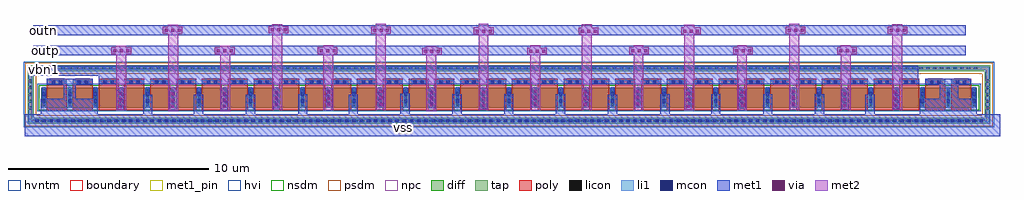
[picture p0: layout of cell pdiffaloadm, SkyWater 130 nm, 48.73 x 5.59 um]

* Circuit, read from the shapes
.subckt pdiffaloadm outn outp vbn1 vss
XM1 vss vss vss vss sky130_fd_pr__nfet_g5v0d10v5 w=1 l=1 m=4
XM2 outp vbn1 vss vss sky130_fd_pr__nfet_g5v0d10v5 w=1 l=1 m=16
XM3 outn vbn1 vss vss sky130_fd_pr__nfet_g5v0d10v5 w=1 l=1 m=16
.ends

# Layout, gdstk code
from math import pi, radians
import gdstk
lib = gdstk.Library(unit=1e-6, precision=1e-09)
def R(c, l, rs):  # rectangles x0, y0, x1, y1
    for r in rs: c.add(gdstk.rectangle(r[:2], r[2:], *l))
def A(c, l, x, y, w, h, nx, ny, dx, dy):  # array of equal rectangles
    R(c, l, [(x+i*dx, y+j*dy, x+i*dx+w, y+j*dy+h) for i in range(nx) for j in range(ny)])
diff = (65, 20)
tap = (65, 44)
poly = (66, 20)
licon = (66, 44)
li1 = (67, 20)
mcon = (67, 44)
met1_pin = (68, 16)
met1 = (68, 20)
via = (68, 44)
met2 = (69, 20)
hvi = (75, 20)
nsdm = (93, 44)
psdm = (94, 20)
npc = (95, 20)
hvntm = (125, 20)
boundary = (235, 4)

viam1m2_1u = lib.new_cell('viam1m2_1u')
R(viam1m2_1u, met1, [(-0.02,-0.04,0.33,0.94)])
A(viam1m2_1u, via, 0.075, 0.06, 0.15, 0.15, 1, 3, 0, 0.32)
R(viam1m2_1u, met2, [(-0.02,-0.04,0.33,0.94)])

sky130_fd_pr__nfet_g5v0d = lib.new_cell('sky130_fd_pr__nfet_g5v0d10v5_XZGV2A')
R(sky130_fd_pr__nfet_g5v0d, diff, [(-23.365,-0.655,23.365,0.345)])
R(sky130_fd_pr__nfet_g5v0d, tap, [(-24.035,-1.455,24.035,-1.165), (-24.035,-1.165,-23.745,1.165), (23.745,-1.165,24.035,1.165), (-24.035,1.165,24.035,1.455)])
A(sky130_fd_pr__nfet_g5v0d, poly, -23.075, -0.785, 1, 1.57, 36, 1, 1.29, 0)
A(sky130_fd_pr__nfet_g5v0d, licon, -23.375, -1.395, 0.17, 0.17, 138, 2, 0.34, 2.62)
A(sky130_fd_pr__nfet_g5v0d, licon, -23.975, -0.765, 0.17, 0.17, 1, 5, 0, 0.34)
A(sky130_fd_pr__nfet_g5v0d, licon, 23.805, -0.765, 0.17, 0.17, 1, 5, 0, 0.34)
A(sky130_fd_pr__nfet_g5v0d, licon, -23.305, -0.58, 0.17, 0.17, 37, 3, 1.29, 0.34)
R(sky130_fd_pr__nfet_g5v0d, licon, [(-22.83,0.535,-22.66,0.705), (-22.49,0.535,-22.32,0.705), (-21.54,0.535,-21.37,0.705), (-21.2,0.535,-21.03,0.705), (-20.25,0.535,-20.08,0.705), (-19.91,0.535,-19.74,0.705), (-18.96,0.535,-18.79,0.705), (-18.62,0.535,-18.45,0.705), (-17.67,0.535,-17.5,0.705), (-17.33,0.535,-17.16,0.705), (-16.38,0.535,-16.21,0.705), (-16.04,0.535,-15.87,0.705), (-15.09,0.535,-14.92,0.705), (-14.75,0.535,-14.58,0.705), (-13.8,0.535,-13.63,0.705), (-13.46,0.535,-13.29,0.705), (-12.51,0.535,-12.34,0.705), (-12.17,0.535,-12,0.705), (-11.22,0.535,-11.05,0.705), (-10.88,0.535,-10.71,0.705), (-9.93,0.535,-9.76,0.705), (-9.59,0.535,-9.42,0.705), (-8.64,0.535,-8.47,0.705), (-8.3,0.535,-8.13,0.705), (-7.35,0.535,-7.18,0.705), (-7.01,0.535,-6.84,0.705), (-6.06,0.535,-5.89,0.705), (-5.72,0.535,-5.55,0.705), (-4.77,0.535,-4.6,0.705), (-4.43,0.535,-4.26,0.705), (-3.48,0.535,-3.31,0.705), (-3.14,0.535,-2.97,0.705), (-2.19,0.535,-2.02,0.705), (-1.85,0.535,-1.68,0.705), (-0.9,0.535,-0.73,0.705), (-0.56,0.535,-0.39,0.705), (0.39,0.535,0.56,0.705), (0.73,0.535,0.9,0.705), (1.68,0.535,1.85,0.705), (2.02,0.535,2.19,0.705), (2.97,0.535,3.14,0.705), (3.31,0.535,3.48,0.705), (4.26,0.535,4.43,0.705), (4.6,0.535,4.77,0.705), (5.55,0.535,5.72,0.705), (5.89,0.535,6.06,0.705), (6.84,0.535,7.01,0.705), (7.18,0.535,7.35,0.705), (8.13,0.535,8.3,0.705), (8.47,0.535,8.64,0.705), (9.42,0.535,9.59,0.705), (9.76,0.535,9.93,0.705), (10.71,0.535,10.88,0.705), (11.05,0.535,11.22,0.705), (12,0.535,12.17,0.705), (12.34,0.535,12.51,0.705), (13.29,0.535,13.46,0.705), (13.63,0.535,13.8,0.705), (14.58,0.535,14.75,0.705), (14.92,0.535,15.09,0.705), (15.87,0.535,16.04,0.705), (16.21,0.535,16.38,0.705), (17.16,0.535,17.33,0.705), (17.5,0.535,17.67,0.705), (18.45,0.535,18.62,0.705), (18.79,0.535,18.96,0.705), (19.74,0.535,19.91,0.705), (20.08,0.535,20.25,0.705), (21.03,0.535,21.2,0.705), (21.37,0.535,21.54,0.705), (22.32,0.535,22.49,0.705), (22.66,0.535,22.83,0.705)])
A(sky130_fd_pr__nfet_g5v0d, li1, -23.305, -0.675, 0.17, 1.04, 37, 1, 1.29, 0)
A(sky130_fd_pr__nfet_g5v0d, li1, -23.075, 0.535, 1, 0.17, 36, 1, 1.29, 0)
R(sky130_fd_pr__nfet_g5v0d, li1, [(-23.975,-1.395,23.975,-1.225), (-23.975,-1.225,-23.805,1.225), (23.805,-1.225,23.975,1.225), (-23.975,1.225,23.975,1.395)])
A(sky130_fd_pr__nfet_g5v0d, mcon, -23.665, -1.395, 0.17, 0.17, 132, 1, 0.36, 0)
A(sky130_fd_pr__nfet_g5v0d, mcon, -23.305, -0.42, 0.17, 0.17, 37, 2, 1.29, 0.36)
R(sky130_fd_pr__nfet_g5v0d, mcon, [(-22.84,0.535,-22.67,0.705), (-22.48,0.535,-22.31,0.705), (-21.55,0.535,-21.38,0.705), (-21.19,0.535,-21.02,0.705), (-20.26,0.535,-20.09,0.705), (-19.9,0.535,-19.73,0.705), (-18.97,0.535,-18.8,0.705), (-18.61,0.535,-18.44,0.705), (-17.68,0.535,-17.51,0.705), (-17.32,0.535,-17.15,0.705), (-16.39,0.535,-16.22,0.705), (-16.03,0.535,-15.86,0.705), (-15.1,0.535,-14.93,0.705), (-14.74,0.535,-14.57,0.705), (-13.81,0.535,-13.64,0.705), (-13.45,0.535,-13.28,0.705), (-12.52,0.535,-12.35,0.705), (-12.16,0.535,-11.99,0.705), (-11.23,0.535,-11.06,0.705), (-10.87,0.535,-10.7,0.705), (-9.94,0.535,-9.77,0.705), (-9.58,0.535,-9.41,0.705), (-8.65,0.535,-8.48,0.705), (-8.29,0.535,-8.12,0.705), (-7.36,0.535,-7.19,0.705), (-7,0.535,-6.83,0.705), (-6.07,0.535,-5.9,0.705), (-5.71,0.535,-5.54,0.705), (-4.78,0.535,-4.61,0.705), (-4.42,0.535,-4.25,0.705), (-3.49,0.535,-3.32,0.705), (-3.13,0.535,-2.96,0.705), (-2.2,0.535,-2.03,0.705), (-1.84,0.535,-1.67,0.705), (-0.91,0.535,-0.74,0.705), (-0.55,0.535,-0.38,0.705), (0.38,0.535,0.55,0.705), (0.74,0.535,0.91,0.705), (1.67,0.535,1.84,0.705), (2.03,0.535,2.2,0.705), (2.96,0.535,3.13,0.705), (3.32,0.535,3.49,0.705), (4.25,0.535,4.42,0.705), (4.61,0.535,4.78,0.705), (5.54,0.535,5.71,0.705), (5.9,0.535,6.07,0.705), (6.83,0.535,7,0.705), (7.19,0.535,7.36,0.705), (8.12,0.535,8.29,0.705), (8.48,0.535,8.65,0.705), (9.41,0.535,9.58,0.705), (9.77,0.535,9.94,0.705), (10.7,0.535,10.87,0.705), (11.06,0.535,11.23,0.705), (11.99,0.535,12.16,0.705), (12.35,0.535,12.52,0.705), (13.28,0.535,13.45,0.705), (13.64,0.535,13.81,0.705), (14.57,0.535,14.74,0.705), (14.93,0.535,15.1,0.705), (15.86,0.535,16.03,0.705), (16.22,0.535,16.39,0.705), (17.15,0.535,17.32,0.705), (17.51,0.535,17.68,0.705), (18.44,0.535,18.61,0.705), (18.8,0.535,18.97,0.705), (19.73,0.535,19.9,0.705), (20.09,0.535,20.26,0.705), (21.02,0.535,21.19,0.705), (21.38,0.535,21.55,0.705), (22.31,0.535,22.48,0.705), (22.67,0.535,22.84,0.705)])
A(sky130_fd_pr__nfet_g5v0d, met1, -23.335, -0.655, 0.23, 1, 37, 1, 1.29, 0)
A(sky130_fd_pr__nfet_g5v0d, met1, -23.055, 0.505, 0.96, 0.23, 36, 1, 1.29, 0)
R(sky130_fd_pr__nfet_g5v0d, met1, [(-23.865,-1.425,23.865,-1.195)])
R(sky130_fd_pr__nfet_g5v0d, hvi, [(-24.22,-1.64,24.22,1.64)])
R(sky130_fd_pr__nfet_g5v0d, nsdm, [(-23.49,-0.78,23.49,0.47)])
R(sky130_fd_pr__nfet_g5v0d, psdm, [(-24.16,-1.58,24.16,-1.04), (-24.16,-1.04,-23.62,1.04), (23.62,-1.04,24.16,1.04), (-24.16,1.04,24.16,1.58)])
A(sky130_fd_pr__nfet_g5v0d, npc, -22.93, 0.435, 0.71, 0.37, 36, 1, 1.29, 0)
R(sky130_fd_pr__nfet_g5v0d, hvntm, [(-23.55,-0.84,23.55,0.53)])
R(sky130_fd_pr__nfet_g5v0d, boundary, [(-23.89,-1.31,23.89,1.31)])

pdiffaloadm = lib.new_cell('pdiffaloadm')
R(pdiffaloadm, met1_pin, [(19.62,-0.38,20.42,0.18), (1.84,2.64,2.3,2.98), (1.93,3.57,2.39,3.91), (1.83,4.61,2.29,4.95)])
A(pdiffaloadm, met1, 22.46, 0.57, 0.46, 1, 3, 1, 2.58, 0)
R(pdiffaloadm, met1, [(1.09,-0.51,49.8,0.57), (1.91,0.57,4.75,1.36), (7.01,0.57,7.47,1.55), (9.55,0.57,10.01,1.56), (12.15,0.57,12.61,1.55), (14.75,0.57,15.21,1.57), (17.28,0.57,17.74,1.54), (19.86,0.57,20.32,1.59), (30.22,0.57,30.68,1.56), (32.84,0.57,33.3,1.57), (35.38,0.57,35.84,1.57), (37.98,0.57,38.44,1.57), (40.56,0.57,41.02,1.57), (43.08,0.57,43.54,1.55), (45.8,0.57,48.65,1.34), (46.79,1.34,47.72,2.06), (3.05,1.36,3.65,2.05), (2.2,2.05,4.49,2.34), (46.06,2.06,48.35,2.35), (4.81,2.07,45.73,2.35), (4.81,2.35,45.71,2.5), (1.5,2.5,45.71,3), (1.52,3.52,48.08,4), (1.52,4.53,48.08,5.01)])
R(pdiffaloadm, met2, [(21.16,0.74,21.655,3.975), (8.26,0.76,8.755,5.035), (10.86,0.76,11.355,3.995), (5.675,0.765,6.17,1.13), (16.02,0.78,16.515,4.015), (26.35,0.78,26.845,4.015), (31.5,0.78,31.995,4.015), (34.04,0.78,34.535,5.055), (36.67,0.78,37.165,4.015), (41.85,0.79,42.345,4.025), (13.46,0.8,13.955,5.075), (28.91,0.8,29.405,5.075), (44.42,0.8,44.915,5.075), (18.64,0.81,19.135,5.085), (23.76,0.81,24.255,5.085), (39.28,0.81,39.775,5.085), (5.67,1.13,6.17,4)])
pdiffaloadm.add(gdstk.Reference(viam1m2_1u, (5.72,0.85)))
pdiffaloadm.add(gdstk.Reference(viam1m2_1u, (8.35,0.83)))
pdiffaloadm.add(gdstk.Reference(viam1m2_1u, (10.91,0.84)))
pdiffaloadm.add(gdstk.Reference(viam1m2_1u, (13.51,0.91)))
pdiffaloadm.add(gdstk.Reference(viam1m2_1u, (16.14,0.93)))
pdiffaloadm.add(gdstk.Reference(viam1m2_1u, (18.72,0.94)))
pdiffaloadm.add(gdstk.Reference(viam1m2_1u, (21.28,0.91)))
pdiffaloadm.add(gdstk.Reference(viam1m2_1u, (23.86,0.9)))
pdiffaloadm.add(gdstk.Reference(viam1m2_1u, (26.44,0.95)))
pdiffaloadm.add(gdstk.Reference(viam1m2_1u, (28.94,0.93)))
pdiffaloadm.add(gdstk.Reference(viam1m2_1u, (31.56,0.96)))
pdiffaloadm.add(gdstk.Reference(viam1m2_1u, (34.09,0.85)))
pdiffaloadm.add(gdstk.Reference(viam1m2_1u, (36.78,0.89)))
pdiffaloadm.add(gdstk.Reference(viam1m2_1u, (39.32,0.94)))
pdiffaloadm.add(gdstk.Reference(viam1m2_1u, (41.91,0.86)))
pdiffaloadm.add(gdstk.Reference(viam1m2_1u, (44.45,0.9)))
pdiffaloadm.add(gdstk.Reference(viam1m2_1u, (5.47,3.59), rotation=pi/2, x_reflection=True))
pdiffaloadm.add(gdstk.Reference(viam1m2_1u, (8.03,4.61), rotation=pi/2, x_reflection=True))
pdiffaloadm.add(gdstk.Reference(viam1m2_1u, (10.64,3.6), rotation=pi/2, x_reflection=True))
pdiffaloadm.add(gdstk.Reference(viam1m2_1u, (15.77,3.59), rotation=pi/2, x_reflection=True))
pdiffaloadm.add(gdstk.Reference(viam1m2_1u, (13.33,4.64), rotation=pi/2, x_reflection=True))
pdiffaloadm.add(gdstk.Reference(viam1m2_1u, (18.44,4.61), rotation=pi/2, x_reflection=True))
pdiffaloadm.add(gdstk.Reference(viam1m2_1u, (20.98,3.58), rotation=pi/2, x_reflection=True))
pdiffaloadm.add(gdstk.Reference(viam1m2_1u, (23.57,4.58), rotation=pi/2, x_reflection=True))
pdiffaloadm.add(gdstk.Reference(viam1m2_1u, (26.24,3.58), rotation=pi/2, x_reflection=True))
pdiffaloadm.add(gdstk.Reference(viam1m2_1u, (31.33,3.6), rotation=pi/2, x_reflection=True))
pdiffaloadm.add(gdstk.Reference(viam1m2_1u, (28.81,4.57), rotation=pi/2, x_reflection=True))
pdiffaloadm.add(gdstk.Reference(viam1m2_1u, (33.92,4.58), rotation=pi/2, x_reflection=True))
pdiffaloadm.add(gdstk.Reference(viam1m2_1u, (36.52,3.59), rotation=pi/2, x_reflection=True))
pdiffaloadm.add(gdstk.Reference(viam1m2_1u, (39.14,4.62), rotation=pi/2, x_reflection=True))
pdiffaloadm.add(gdstk.Reference(viam1m2_1u, (41.71,3.59), rotation=pi/2, x_reflection=True))
pdiffaloadm.add(gdstk.Reference(viam1m2_1u, (44.24,4.61), rotation=pi/2, x_reflection=True))
pdiffaloadm.add(gdstk.Reference(sky130_fd_pr__nfet_g5v0d, (25.285,1.565), rotation=pi, x_reflection=True))
pdiffaloadm.add(gdstk.Label('vss', (20.02,-0.1), layer=68, texttype=5))
pdiffaloadm.add(gdstk.Label('vbn1', (2.07,2.81), layer=68, texttype=5))
pdiffaloadm.add(gdstk.Label('outp', (2.16,3.74), layer=68, texttype=5))
pdiffaloadm.add(gdstk.Label('outn', (2.06,4.78), layer=68, texttype=5))

lib.write_gds('pdiffaloadm.gds')
